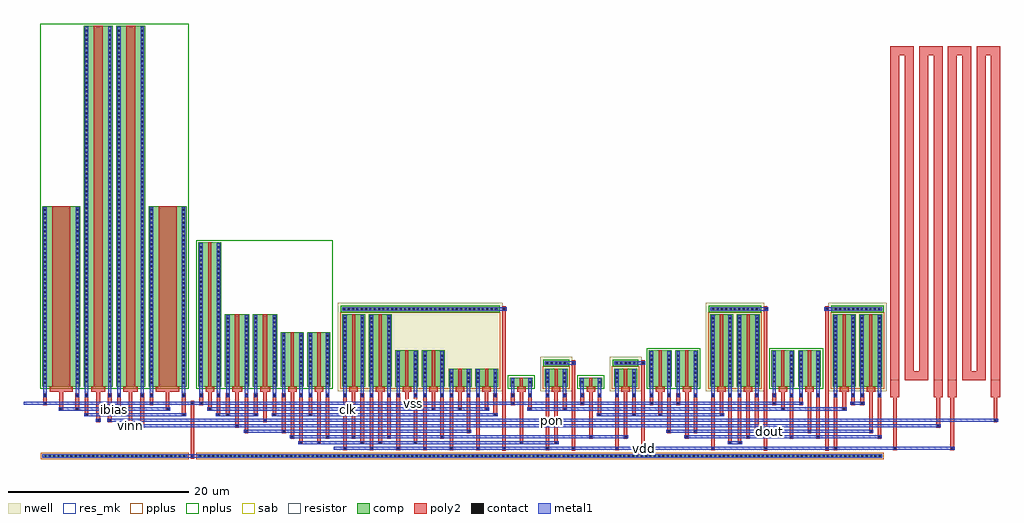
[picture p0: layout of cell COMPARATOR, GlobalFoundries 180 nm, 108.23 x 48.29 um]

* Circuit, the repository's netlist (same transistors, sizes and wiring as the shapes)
* extracted by klt extract --deck gf180mcu

* cell COMPARATOR
* pin clk
* pin dout
* pin doutb
* pin ibias
* pin pon
* pin pop
* pin vdd
* pin vinn
* pin vinp
* pin vss
.SUBCKT COMPARATOR clk dout doutb ibias pon pop vdd vinn vinp vss
* device instance $1 r0 *1 53.125,0.5 nfet
M$1 \$15 \$13 vss vss nfet L=0.35U W=1U AS=1.1P AD=1.1P PS=4.2U PD=4.2U
* device instance $2 r0 *1 60.825,0.5 nfet
M$2 \$16 \$12 vss vss nfet L=0.35U W=1U AS=1.1P AD=1.1P PS=4.2U PD=4.2U
* device instance $3 r0 *1 68.525,2 nfet
M$3 dout \$16 vss vss nfet L=0.35U W=4U AS=4.4P AD=4.4P PS=10.2U PD=10.2U
* device instance $4 r0 *1 71.475,2 nfet
M$4 dout doutb vss vss nfet L=0.35U W=4U AS=4.4P AD=4.4P PS=10.2U PD=10.2U
* device instance $5 r0 *1 82.125,2 nfet
M$5 doutb \$15 vss vss nfet L=0.35U W=4U AS=4.4P AD=4.4P PS=10.2U PD=10.2U
* device instance $6 r0 *1 85.075,2 nfet
M$6 doutb dout vss vss nfet L=0.35U W=4U AS=4.4P AD=4.4P PS=10.2U PD=10.2U
* device instance $7 r0 *1 27.725,3 nfet
M$7 \$13 \$12 \$10 vss nfet L=0.35U W=6U AS=6.6P AD=6.6P PS=14.2U PD=14.2U
* device instance $8 r0 *1 30.675,3 nfet
M$8 \$12 \$13 \$11 vss nfet L=0.35U W=6U AS=6.6P AD=6.6P PS=14.2U PD=14.2U
* device instance $9 r0 *1 21.6,4 nfet
M$9 \$10 pop \$9 vss nfet L=0.5U W=8U AS=8.8P AD=8.8P PS=18.2U PD=18.2U
* device instance $10 r0 *1 24.7,4 nfet
M$10 \$11 pon \$9 vss nfet L=0.5U W=8U AS=8.8P AD=8.8P PS=18.2U PD=18.2U
* device instance $11 r0 *1 18.575,8 nfet
M$11 \$9 clk vss vss nfet L=0.35U W=16U AS=17.6P AD=17.6P PS=34.2U PD=34.2U
* device instance $12 r0 *1 2.1,10 nfet
M$12 ibias ibias vss vss nfet L=2U W=20U AS=22P AD=22P PS=42.2U PD=42.2U
* device instance $13 r0 *1 13.9,10 nfet
M$13 \$3 ibias vss vss nfet L=2U W=20U AS=22P AD=22P PS=42.2U PD=42.2U
* device instance $14 r0 *1 6.2,20 nfet
M$14 pon vinp \$3 vss nfet L=1U W=40U AS=44P AD=44P PS=82.2U PD=82.2U
* device instance $15 r0 *1 9.8,20 nfet
M$15 pop vinn \$3 vss nfet L=1U W=40U AS=44P AD=44P PS=82.2U PD=82.2U
* device instance $16 r0 *1 46.325,1 pfet
M$16 \$10 clk vdd vdd pfet L=0.35U W=2U AS=2.2P AD=2.2P PS=6.2U PD=6.2U
* device instance $17 r0 *1 49.275,1 pfet
M$17 \$11 clk vdd vdd pfet L=0.35U W=2U AS=2.2P AD=2.2P PS=6.2U PD=6.2U
* device instance $18 r0 *1 56.975,1 pfet
M$18 \$15 \$13 vdd vdd pfet L=0.35U W=2U AS=2.2P AD=2.2P PS=6.2U PD=6.2U
* device instance $19 r0 *1 64.675,1 pfet
M$19 \$16 \$12 vdd vdd pfet L=0.35U W=2U AS=2.2P AD=2.2P PS=6.2U PD=6.2U
* device instance $20 r0 *1 40.425,2 pfet
M$20 \$13 clk vdd vdd pfet L=0.35U W=4U AS=4.4P AD=4.4P PS=10.2U PD=10.2U
* device instance $21 r0 *1 43.375,2 pfet
M$21 \$12 clk vdd vdd pfet L=0.35U W=4U AS=4.4P AD=4.4P PS=10.2U PD=10.2U
* device instance $22 r0 *1 34.525,4 pfet
M$22 \$13 \$12 vdd vdd pfet L=0.35U W=8U AS=8.8P AD=8.8P PS=18.2U PD=18.2U
* device instance $23 r0 *1 37.475,4 pfet
M$23 \$12 \$13 vdd vdd pfet L=0.35U W=8U AS=8.8P AD=8.8P PS=18.2U PD=18.2U
* device instance $24 r0 *1 75.325,4 pfet
M$24 \$19 \$16 vdd vdd pfet L=0.35U W=8U AS=8.8P AD=8.8P PS=18.2U PD=18.2U
* device instance $25 r0 *1 78.275,4 pfet
M$25 dout doutb \$19 vdd pfet L=0.35U W=8U AS=8.8P AD=8.8P PS=18.2U PD=18.2U
* device instance $26 r0 *1 88.925,4 pfet
M$26 \$20 \$15 vdd vdd pfet L=0.35U W=8U AS=8.8P AD=8.8P PS=18.2U PD=18.2U
* device instance $27 r0 *1 91.875,4 pfet
M$27 doutb dout \$20 vdd pfet L=0.35U W=8U AS=8.8P AD=8.8P PS=18.2U PD=18.2U
* device instance $28 r0 *1 96.95,19.225 ppolyf_u_1k
R$28 vdd pop vss 150000 ppolyf_u_1k L=150U W=1U
* device instance $29 r0 *1 103.15,19.225 ppolyf_u_1k
R$29 vdd pon vss 150000 ppolyf_u_1k L=150U W=1U
.ENDS COMPARATOR

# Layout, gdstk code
import gdstk
lib = gdstk.Library(unit=1e-6, precision=1e-09)
def R(c, l, rs):  # rectangles x0, y0, x1, y1
    for r in rs: c.add(gdstk.rectangle(r[:2], r[2:], *l))
def A(c, l, x, y, w, h, nx, ny, dx, dy):  # array of equal rectangles
    R(c, l, [(x+i*dx, y+j*dy, x+i*dx+w, y+j*dy+h) for i in range(nx) for j in range(ny)])
def P(c, l, *ps):  # polygons
    for p in ps: c.add(gdstk.Polygon(p, *l))
nwell = (21, 0)
comp = (22, 0)
poly2 = (30, 0)
pplus = (31, 0)
nplus = (32, 0)
contact = (33, 0)
metal1 = (34, 0)
sab = (49, 0)
resistor = (62, 0)
res_mk = (110, 5)

comparator = lib.new_cell('COMPARATOR')
R(comparator, nwell, [(32.75,-0.5,51.05,9.3), (55.2,-0.5,58.75,3.3), (62.9,-0.5,66.45,3.3), (73.55,-0.5,80.05,9.3), (87.15,-0.5,93.65,9.3)])
A(comparator, comp, 48, 0, 2.55, 2, 3, 1, 7.7, 0)
R(comparator, comp, [(0,-7.9,16.07,-7.5), (17.23,-7.9,93.15,-7.5), (0,0,4.2,20), (4.6,0,7.8,40), (8.2,0,11.4,40), (11.8,0,16,20), (17.3,0,19.85,16), (20.25,0,22.95,8), (23.35,0,26.05,8), (26.45,0,29,6), (29.4,0,31.95,6), (33.25,0,35.8,8), (36.2,0,38.75,8), (39.15,0,41.7,4), (42.1,0,44.65,4), (45.05,0,47.6,2), (51.85,0,54.4,1), (59.55,0,62.1,1), (67.25,0,69.8,4), (70.2,0,72.75,4), (74.05,0,76.6,8), (77,0,79.55,8), (80.85,0,83.4,4), (83.8,0,86.35,4), (87.65,0,90.2,8), (90.6,0,93.15,8), (55.7,2.4,58.25,2.8), (63.4,2.4,65.95,2.8), (33.25,8.4,50.55,8.8), (74.05,8.4,79.55,8.8), (87.65,8.4,93.15,8.8)])
A(comparator, poly2, 33.37, -7.04, 0.4, 5.84, 6, 1, 2.95, 0)
A(comparator, poly2, 64.475, -5.8, 0.4, 4.6, 3, 1, 6.8, 0)
A(comparator, poly2, 40.225, -2.7, 0.4, 1.5, 4, 1, 2.95, 0)
A(comparator, poly2, 51.97, -2.08, 0.4, 0.88, 3, 1, 7.7, 0)
A(comparator, poly2, 34.325, -1.2, 0.4, 0.6, 6, 1, 2.95, 0)
A(comparator, poly2, 52.925, -1.2, 0.4, 0.6, 5, 1, 3.85, 0)
A(comparator, poly2, 34.05, -0.6, 0.95, 0.6, 6, 1, 2.95, 0)
A(comparator, poly2, 52.65, -0.6, 0.95, 0.6, 5, 1, 3.85, 0)
A(comparator, poly2, 49.1, 0, 0.35, 2, 3, 1, 7.7, 0)
R(comparator, poly2, [(16.45,-8,16.85,-1.6), (51,-7.1,51.4,8.9), (58.7,-7.1,59.1,2.9), (66.4,-7.1,66.8,2.9), (80,-7.1,80.4,8.9), (86.8,-7.1,87.2,8.9), (55.82,-7.04,56.22,-1.2), (63.52,-7.04,63.92,-1.2), (74.17,-7.04,74.57,-1.2), (87.77,-7.04,88.17,-1.2), (94.35,-7.04,94.75,-1.2), (100.7,-7.04,101.1,-1.2), (28.48,-6.42,28.88,-1.2), (30.475,-6.42,30.875,-1.2), (35.28,-6.42,35.68,-1.2), (37.275,-6.42,37.675,-1.2), (41.18,-6.42,41.58,-1.2), (52.925,-6.42,53.325,-1.2), (56.775,-6.42,57.175,-1.2), (76.08,-6.42,76.48,-1.2), (77.12,-6.42,77.52,-1.2), (27.525,-5.8,27.925,-1.2), (31.43,-5.8,31.83,-1.2), (34.325,-5.8,34.725,-1.2), (38.23,-5.8,38.63,-1.2), (44.13,-5.8,44.53,-1.2), (60.625,-5.8,61.025,-1.2), (82.88,-5.8,83.28,-1.2), (85.83,-5.8,86.23,-1.2), (92.63,-5.8,93.03,-1.2), (22.43,-5.18,22.83,-1.2), (26.57,-5.18,26.97,-1.2), (47.08,-5.18,47.48,-1.2), (69.28,-5.18,69.68,-1.2), (72.23,-5.18,72.63,-1.2), (79.03,-5.18,79.43,-1.2), (84.875,-5.18,85.275,-1.2), (91.675,-5.18,92.075,-1.2), (9.6,-4.56,10,-1.2), (10.88,-4.56,11.28,-1.2), (21.4,-4.56,21.8,-1.2), (99.15,-4.56,99.55,-1.2), (6,-3.94,6.4,-1.2), (7.28,-3.94,7.68,-1.2), (24.5,-3.94,24.9,-1.2), (105.5,-3.94,105.9,-1.2), (4.72,-3.32,5.12,-1.2), (8.32,-3.32,8.72,-1.2), (15.48,-3.32,15.88,-1.2), (19.33,-3.32,19.73,-1.2), (20.37,-3.32,20.77,-1.2), (23.47,-3.32,23.87,-1.2), (25.53,-3.32,25.93,-1.2), (29.52,-3.32,29.92,-1.2), (50.03,-3.32,50.43,-1.2), (61.58,-3.32,61.98,-1.2), (65.43,-3.32,65.83,-1.2), (68.325,-3.32,68.725,-1.2), (75.125,-3.32,75.525,-1.2), (1.9,-2.7,2.3,-1.2), (3.68,-2.7,4.08,-1.2), (13.7,-2.7,14.1,-1.2), (18.375,-2.7,18.775,-1.2), (53.88,-2.7,54.28,-1.2), (57.73,-2.7,58.13,-1.2), (81.925,-2.7,82.325,-1.2), (88.725,-2.7,89.125,-1.2), (0.12,-2.08,0.52,-1.2), (11.92,-2.08,12.32,-1.2), (17.42,-2.08,17.82,-1.2), (70.32,-2.08,70.72,-1.2), (80.97,-2.08,81.37,-1.2), (83.92,-2.08,84.32,-1.2), (89.68,-2.08,90.08,-1.2), (90.72,-2.08,91.12,-1.2), (0.12,-1.2,0.52,-0.75), (1.9,-1.2,2.3,-0.6), (3.68,-1.2,4.08,-0.75), (4.72,-1.2,5.12,-0.75), (6,-1.2,6.4,-0.6), (7.28,-1.2,7.68,-0.75), (8.32,-1.2,8.72,-0.75), (9.6,-1.2,10,-0.6), (10.88,-1.2,11.28,-0.75), (11.92,-1.2,12.32,-0.75), (13.7,-1.2,14.1,-0.6), (15.48,-1.2,15.88,-0.75), (17.42,-1.2,17.82,-0.75), (18.375,-1.2,18.775,-0.6), (19.33,-1.2,19.73,-0.75), (20.37,-1.2,20.77,-0.75), (21.4,-1.2,21.8,-0.6), (22.43,-1.2,22.83,-0.75), (23.47,-1.2,23.87,-0.75), (24.5,-1.2,24.9,-0.6), (25.53,-1.2,25.93,-0.75), (26.57,-1.2,26.97,-0.75), (27.525,-1.2,27.925,-0.6), (28.48,-1.2,28.88,-0.75), (29.52,-1.2,29.92,-0.75), (30.475,-1.2,30.875,-0.6), (31.43,-1.2,31.83,-0.75), (33.37,-1.2,33.77,-0.75), (35.28,-1.2,35.68,-0.75), (36.32,-1.2,36.72,-0.75), (38.23,-1.2,38.63,-0.75), (39.27,-1.2,39.67,-0.75), (41.18,-1.2,41.58,-0.75), (42.22,-1.2,42.62,-0.75), (44.13,-1.2,44.53,-0.75), (45.17,-1.2,45.57,-0.75), (47.08,-1.2,47.48,-0.75), (48.12,-1.2,48.52,-0.75), (50.03,-1.2,50.43,-0.75), (51.97,-1.2,52.37,-0.75), (53.88,-1.2,54.28,-0.75), (55.82,-1.2,56.22,-0.75), (57.73,-1.2,58.13,-0.75), (59.67,-1.2,60.07,-0.75), (61.58,-1.2,61.98,-0.75), (63.52,-1.2,63.92,-0.75), (65.43,-1.2,65.83,-0.75), (67.37,-1.2,67.77,-0.75), (69.28,-1.2,69.68,-0.75), (70.32,-1.2,70.72,-0.75), (71.275,-1.2,71.675,-0.6), (72.23,-1.2,72.63,-0.75), (74.17,-1.2,74.57,-0.75), (75.125,-1.2,75.525,-0.6), (76.08,-1.2,76.48,-0.75), (77.12,-1.2,77.52,-0.75), (78.075,-1.2,78.475,-0.6), (79.03,-1.2,79.43,-0.75), (80.97,-1.2,81.37,-0.75), (81.925,-1.2,82.325,-0.6), (82.88,-1.2,83.28,-0.75), (83.92,-1.2,84.32,-0.75), (84.875,-1.2,85.275,-0.6), (85.83,-1.2,86.23,-0.75), (87.77,-1.2,88.17,-0.75), (88.725,-1.2,89.125,-0.6), (89.68,-1.2,90.08,-0.75), (90.72,-1.2,91.12,-0.75), (91.675,-1.2,92.075,-0.6), (92.63,-1.2,93.03,-0.75), (94.05,-1.2,95.05,0.7), (98.85,-1.2,99.85,0.7), (100.4,-1.2,101.4,0.7), (105.2,-1.2,106.2,0.7), (0.8,-0.6,3.4,0), (5.4,-0.6,7,0), (9,-0.6,10.6,0), (12.6,-0.6,15.2,0), (18.1,-0.6,19.05,0), (21.05,-0.6,22.15,0), (24.15,-0.6,25.25,0), (27.25,-0.6,28.2,0), (30.2,-0.6,31.15,0), (71,-0.6,71.95,0), (74.85,-0.6,75.8,0), (77.8,-0.6,78.75,0), (81.65,-0.6,82.6,0), (84.6,-0.6,85.55,0), (88.45,-0.6,89.4,0), (91.4,-0.6,92.35,0), (1.1,0,3.1,20), (5.7,0,6.7,40), (9.3,0,10.3,40), (12.9,0,14.9,20), (18.4,0,18.75,16), (21.35,0,21.85,8), (24.45,0,24.95,8), (27.55,0,27.9,6), (30.5,0,30.85,6), (34.35,0,34.7,8), (37.3,0,37.65,8), (40.25,0,40.6,4), (43.2,0,43.55,4), (46.15,0,46.5,2), (52.95,0,53.3,1), (60.65,0,61,1), (68.35,0,68.7,4), (71.3,0,71.65,4), (75.15,0,75.5,8), (78.1,0,78.45,8), (81.95,0,82.3,4), (84.9,0,85.25,4), (88.75,0,89.1,8), (91.7,0,92.05,8)])
P(comparator, poly2, [(94.05,0.7),(94.05,37.75),(96.65,37.75),(96.65,1.7),(97.25,1.7),(97.25,37.75),(99.85,37.75),(99.85,0.7),(98.85,0.7),(98.85,36.75),(98.25,36.75),(98.25,0.7),(95.65,0.7),(95.65,36.75),(95.05,36.75),(95.05,0.7)],
  [(100.4,0.7),(100.4,37.75),(103,37.75),(103,1.7),(103.6,1.7),(103.6,37.75),(106.2,37.75),(106.2,0.7),(105.2,0.7),(105.2,36.75),(104.6,36.75),(104.6,0.7),(102,0.7),(102,36.75),(101.4,36.75),(101.4,0.7)])
R(comparator, pplus, [(-0.16,-8.06,16.23,-7.34), (17.07,-8.06,93.31,-7.34), (33.02,-0.23,50.78,8.23), (55.47,-0.23,58.48,2.23), (63.17,-0.23,66.18,2.23), (73.82,-0.23,79.78,8.23), (87.42,-0.23,93.38,8.23)])
R(comparator, nplus, [(-0.23,-0.23,16.23,40.23), (17.07,-0.23,32.18,16.23), (51.62,-0.23,54.63,1.23), (59.32,-0.23,62.33,1.23), (67.02,-0.23,72.98,4.23), (80.62,-0.23,86.58,4.23), (55.54,2.24,58.41,2.96), (63.24,2.24,66.11,2.96), (33.09,8.24,50.71,8.96), (73.89,8.24,79.71,8.96), (87.49,8.24,93.31,8.96)])
A(comparator, contact, 0.245, -7.81, 0.22, 0.22, 33, 1, 0.48, 0)
A(comparator, contact, 17.4, -7.81, 0.22, 0.22, 158, 1, 0.48, 0)
A(comparator, contact, 33.46, -6.94, 0.22, 0.22, 6, 1, 2.95, 0)
A(comparator, contact, 64.565, -5.7, 0.22, 0.22, 3, 1, 6.8, 0)
A(comparator, contact, 40.315, -2.6, 0.22, 0.22, 4, 1, 2.95, 0)
A(comparator, contact, 52.06, -1.98, 0.22, 0.22, 3, 1, 7.7, 0)
A(comparator, contact, 26.66, 0.25, 0.22, 0.22, 1, 12, 0, 0.48)
A(comparator, contact, 28.57, 0.25, 0.22, 0.22, 1, 12, 0, 0.48)
A(comparator, contact, 29.61, 0.25, 0.22, 0.22, 1, 12, 0, 0.48)
A(comparator, contact, 31.52, 0.25, 0.22, 0.22, 1, 12, 0, 0.48)
A(comparator, contact, 0.21, 0.29, 0.22, 0.22, 1, 41, 0, 0.48)
A(comparator, contact, 3.77, 0.29, 0.22, 0.22, 1, 41, 0, 0.48)
A(comparator, contact, 12.01, 0.29, 0.22, 0.22, 1, 41, 0, 0.48)
A(comparator, contact, 15.57, 0.29, 0.22, 0.22, 1, 41, 0, 0.48)
A(comparator, contact, 20.46, 0.29, 0.22, 0.22, 1, 16, 0, 0.48)
A(comparator, contact, 22.52, 0.29, 0.22, 0.22, 1, 16, 0, 0.48)
A(comparator, contact, 23.56, 0.29, 0.22, 0.22, 1, 16, 0, 0.48)
A(comparator, contact, 25.62, 0.29, 0.22, 0.22, 1, 16, 0, 0.48)
A(comparator, contact, 33.46, 0.29, 0.22, 0.22, 1, 16, 0, 0.48)
A(comparator, contact, 35.37, 0.29, 0.22, 0.22, 1, 16, 0, 0.48)
A(comparator, contact, 36.41, 0.29, 0.22, 0.22, 1, 16, 0, 0.48)
A(comparator, contact, 38.32, 0.29, 0.22, 0.22, 1, 16, 0, 0.48)
A(comparator, contact, 74.26, 0.29, 0.22, 0.22, 1, 16, 0, 0.48)
A(comparator, contact, 76.17, 0.29, 0.22, 0.22, 1, 16, 0, 0.48)
A(comparator, contact, 77.21, 0.29, 0.22, 0.22, 1, 16, 0, 0.48)
A(comparator, contact, 79.12, 0.29, 0.22, 0.22, 1, 16, 0, 0.48)
A(comparator, contact, 87.86, 0.29, 0.22, 0.22, 1, 16, 0, 0.48)
A(comparator, contact, 89.77, 0.29, 0.22, 0.22, 1, 16, 0, 0.48)
A(comparator, contact, 90.81, 0.29, 0.22, 0.22, 1, 16, 0, 0.48)
A(comparator, contact, 92.72, 0.29, 0.22, 0.22, 1, 16, 0, 0.48)
A(comparator, contact, 45.26, 0.41, 0.22, 0.22, 1, 3, 0, 0.48)
A(comparator, contact, 47.17, 0.41, 0.22, 0.22, 1, 3, 0, 0.48)
A(comparator, contact, 48.21, 0.41, 0.22, 0.22, 1, 3, 0, 0.48)
A(comparator, contact, 50.12, 0.41, 0.22, 0.22, 1, 3, 0, 0.48)
A(comparator, contact, 55.91, 0.41, 0.22, 0.22, 1, 3, 0, 0.48)
A(comparator, contact, 57.82, 0.41, 0.22, 0.22, 1, 3, 0, 0.48)
A(comparator, contact, 63.61, 0.41, 0.22, 0.22, 1, 3, 0, 0.48)
A(comparator, contact, 65.52, 0.41, 0.22, 0.22, 1, 3, 0, 0.48)
A(comparator, contact, 4.81, 0.45, 0.22, 0.22, 1, 82, 0, 0.48)
A(comparator, contact, 7.37, 0.45, 0.22, 0.22, 1, 82, 0, 0.48)
A(comparator, contact, 8.41, 0.45, 0.22, 0.22, 1, 82, 0, 0.48)
A(comparator, contact, 10.97, 0.45, 0.22, 0.22, 1, 82, 0, 0.48)
A(comparator, contact, 17.51, 0.45, 0.22, 0.22, 1, 32, 0, 0.48)
A(comparator, contact, 19.42, 0.45, 0.22, 0.22, 1, 32, 0, 0.48)
A(comparator, contact, 39.36, 0.45, 0.22, 0.22, 1, 7, 0, 0.48)
A(comparator, contact, 41.27, 0.45, 0.22, 0.22, 1, 7, 0, 0.48)
A(comparator, contact, 42.31, 0.45, 0.22, 0.22, 1, 7, 0, 0.48)
A(comparator, contact, 44.22, 0.45, 0.22, 0.22, 1, 7, 0, 0.48)
A(comparator, contact, 67.46, 0.45, 0.22, 0.22, 1, 7, 0, 0.48)
A(comparator, contact, 69.37, 0.45, 0.22, 0.22, 1, 7, 0, 0.48)
A(comparator, contact, 70.41, 0.45, 0.22, 0.22, 1, 7, 0, 0.48)
A(comparator, contact, 72.32, 0.45, 0.22, 0.22, 1, 7, 0, 0.48)
A(comparator, contact, 81.06, 0.45, 0.22, 0.22, 1, 7, 0, 0.48)
A(comparator, contact, 82.97, 0.45, 0.22, 0.22, 1, 7, 0, 0.48)
A(comparator, contact, 84.01, 0.45, 0.22, 0.22, 1, 7, 0, 0.48)
A(comparator, contact, 85.92, 0.45, 0.22, 0.22, 1, 7, 0, 0.48)
A(comparator, contact, 55.905, 2.49, 0.22, 0.22, 5, 1, 0.48, 0)
A(comparator, contact, 63.605, 2.49, 0.22, 0.22, 5, 1, 0.48, 0)
A(comparator, contact, 33.39, 8.49, 0.22, 0.22, 36, 1, 0.48, 0)
A(comparator, contact, 74.29, 8.49, 0.22, 0.22, 11, 1, 0.48, 0)
A(comparator, contact, 87.89, 8.49, 0.22, 0.22, 11, 1, 0.48, 0)
R(comparator, contact, [(16.54,-7.81,16.76,-7.59), (51.09,-6.94,51.31,-6.72), (55.91,-6.94,56.13,-6.72), (58.79,-6.94,59.01,-6.72), (63.61,-6.94,63.83,-6.72), (66.49,-6.94,66.71,-6.72), (74.26,-6.94,74.48,-6.72), (80.09,-6.94,80.31,-6.72), (86.89,-6.94,87.11,-6.72), (87.86,-6.94,88.08,-6.72), (94.44,-6.94,94.66,-6.72), (100.79,-6.94,101.01,-6.72), (28.57,-6.32,28.79,-6.1), (30.565,-6.32,30.785,-6.1), (35.37,-6.32,35.59,-6.1), (37.365,-6.32,37.585,-6.1), (41.27,-6.32,41.49,-6.1), (53.015,-6.32,53.235,-6.1), (56.865,-6.32,57.085,-6.1), (76.17,-6.32,76.39,-6.1), (77.21,-6.32,77.43,-6.1), (27.615,-5.7,27.835,-5.48), (31.52,-5.7,31.74,-5.48), (34.415,-5.7,34.635,-5.48), (38.32,-5.7,38.54,-5.48), (44.22,-5.7,44.44,-5.48), (60.715,-5.7,60.935,-5.48), (82.97,-5.7,83.19,-5.48), (85.92,-5.7,86.14,-5.48), (92.72,-5.7,92.94,-5.48), (22.52,-5.08,22.74,-4.86), (26.66,-5.08,26.88,-4.86), (47.17,-5.08,47.39,-4.86), (69.37,-5.08,69.59,-4.86), (72.32,-5.08,72.54,-4.86), (79.12,-5.08,79.34,-4.86), (84.965,-5.08,85.185,-4.86), (91.765,-5.08,91.985,-4.86), (9.69,-4.46,9.91,-4.24), (10.97,-4.46,11.19,-4.24), (21.49,-4.46,21.71,-4.24), (99.24,-4.46,99.46,-4.24), (6.09,-3.84,6.31,-3.62), (7.37,-3.84,7.59,-3.62), (24.59,-3.84,24.81,-3.62), (105.59,-3.84,105.81,-3.62), (4.81,-3.22,5.03,-3), (8.41,-3.22,8.63,-3), (15.57,-3.22,15.79,-3), (19.42,-3.22,19.64,-3), (20.46,-3.22,20.68,-3), (23.56,-3.22,23.78,-3), (25.62,-3.22,25.84,-3), (29.61,-3.22,29.83,-3), (50.12,-3.22,50.34,-3), (61.67,-3.22,61.89,-3), (65.52,-3.22,65.74,-3), (68.415,-3.22,68.635,-3), (75.215,-3.22,75.435,-3), (1.99,-2.6,2.21,-2.38), (3.77,-2.6,3.99,-2.38), (13.79,-2.6,14.01,-2.38), (18.465,-2.6,18.685,-2.38), (53.97,-2.6,54.19,-2.38), (57.82,-2.6,58.04,-2.38), (82.015,-2.6,82.235,-2.38), (88.815,-2.6,89.035,-2.38), (0.21,-1.98,0.43,-1.76), (12.01,-1.98,12.23,-1.76), (16.54,-1.98,16.76,-1.76), (17.51,-1.98,17.73,-1.76), (70.41,-1.98,70.63,-1.76), (81.06,-1.98,81.28,-1.76), (84.01,-1.98,84.23,-1.76), (89.77,-1.98,89.99,-1.76), (90.81,-1.98,91.03,-1.76), (0.21,-1.08,0.43,-0.86), (3.77,-1.08,3.99,-0.86), (4.81,-1.08,5.03,-0.86), (7.37,-1.08,7.59,-0.86), (8.41,-1.08,8.63,-0.86), (10.97,-1.08,11.19,-0.86), (12.01,-1.08,12.23,-0.86), (15.57,-1.08,15.79,-0.86), (17.51,-1.08,17.73,-0.86), (19.42,-1.08,19.64,-0.86), (20.46,-1.08,20.68,-0.86), (22.52,-1.08,22.74,-0.86), (23.56,-1.08,23.78,-0.86), (25.62,-1.08,25.84,-0.86), (26.66,-1.08,26.88,-0.86), (28.57,-1.08,28.79,-0.86), (29.61,-1.08,29.83,-0.86), (31.52,-1.08,31.74,-0.86), (33.46,-1.08,33.68,-0.86), (35.37,-1.08,35.59,-0.86), (36.41,-1.08,36.63,-0.86), (38.32,-1.08,38.54,-0.86), (39.36,-1.08,39.58,-0.86), (41.27,-1.08,41.49,-0.86), (42.31,-1.08,42.53,-0.86), (44.22,-1.08,44.44,-0.86), (45.26,-1.08,45.48,-0.86), (47.17,-1.08,47.39,-0.86), (48.21,-1.08,48.43,-0.86), (50.12,-1.08,50.34,-0.86), (52.06,-1.08,52.28,-0.86), (53.97,-1.08,54.19,-0.86), (55.91,-1.08,56.13,-0.86), (57.82,-1.08,58.04,-0.86), (59.76,-1.08,59.98,-0.86), (61.67,-1.08,61.89,-0.86), (63.61,-1.08,63.83,-0.86), (65.52,-1.08,65.74,-0.86), (67.46,-1.08,67.68,-0.86), (69.37,-1.08,69.59,-0.86), (70.41,-1.08,70.63,-0.86), (72.32,-1.08,72.54,-0.86), (74.26,-1.08,74.48,-0.86), (76.17,-1.08,76.39,-0.86), (77.21,-1.08,77.43,-0.86), (79.12,-1.08,79.34,-0.86), (81.06,-1.08,81.28,-0.86), (82.97,-1.08,83.19,-0.86), (84.01,-1.08,84.23,-0.86), (85.92,-1.08,86.14,-0.86), (87.86,-1.08,88.08,-0.86), (89.77,-1.08,89.99,-0.86), (90.81,-1.08,91.03,-0.86), (92.72,-1.08,92.94,-0.86), (52.06,0.39,52.28,0.61), (53.97,0.39,54.19,0.61), (59.76,0.39,59.98,0.61), (61.67,0.39,61.89,0.61), (58.79,2.49,59.01,2.71), (66.49,2.49,66.71,2.71), (51.09,8.49,51.31,8.71), (80.09,8.49,80.31,8.71), (86.89,8.49,87.11,8.71)])
R(comparator, metal1, [(0,-7.9,93.15,-7.5), (32.32,-7,101.18,-6.66), (28.4,-6.38,57.255,-6.04), (76,-6.38,77.6,-6.04), (27.445,-5.76,64.955,-5.42), (71.195,-5.76,93.11,-5.42), (22.35,-5.14,47.56,-4.8), (69.2,-5.14,92.155,-4.8), (9.52,-4.52,10.08,-4.18), (10.8,-4.52,99.63,-4.18), (5.92,-3.9,6.48,-3.56), (7.2,-3.9,105.98,-3.56), (4.64,-3.28,15.96,-2.94), (19.25,-3.28,23.95,-2.94), (25.45,-3.28,50.51,-2.94), (61.5,-3.28,75.605,-2.94), (1.82,-2.66,14.18,-2.32), (18.295,-2.66,49.555,-2.32), (53.8,-2.66,89.205,-2.32), (-2.03,-2.04,84.4,-1.7), (89.6,-2.04,91.2,-1.7), (0.13,-1.2,0.51,0.09), (3.69,-1.2,4.07,0.09), (4.73,-1.2,5.11,0.09), (7.29,-1.2,7.67,0.09), (8.33,-1.2,8.71,0.09), (10.89,-1.2,11.27,0.09), (11.93,-1.2,12.31,0.09), (15.49,-1.2,15.87,0.09), (17.43,-1.2,17.81,0.09), (19.34,-1.2,19.72,0.09), (20.38,-1.2,20.76,0.09), (22.44,-1.2,22.82,0.09), (23.48,-1.2,23.86,0.09), (25.54,-1.2,25.92,0.09), (26.58,-1.2,26.96,0.09), (28.49,-1.2,28.87,0.09), (29.53,-1.2,29.91,0.09), (31.44,-1.2,31.82,0.09), (33.38,-1.2,33.76,0.09), (35.29,-1.2,35.67,0.09), (36.33,-1.2,36.71,0.09), (38.24,-1.2,38.62,0.09), (39.28,-1.2,39.66,0.09), (41.19,-1.2,41.57,0.09), (42.23,-1.2,42.61,0.09), (44.14,-1.2,44.52,0.09), (45.18,-1.2,45.56,0.09), (47.09,-1.2,47.47,0.09), (48.13,-1.2,48.51,0.09), (50.04,-1.2,50.42,0.09), (51.98,-1.2,52.36,0.09), (53.89,-1.2,54.27,0.09), (55.83,-1.2,56.21,0.09), (57.74,-1.2,58.12,0.09), (59.68,-1.2,60.06,0.09), (61.59,-1.2,61.97,0.09), (63.53,-1.2,63.91,0.09), (65.44,-1.2,65.82,0.09), (67.38,-1.2,67.76,0.09), (69.29,-1.2,69.67,0.09), (70.33,-1.2,70.71,0.09), (72.24,-1.2,72.62,0.09), (74.18,-1.2,74.56,0.09), (76.09,-1.2,76.47,0.09), (77.13,-1.2,77.51,0.09), (79.04,-1.2,79.42,0.09), (80.98,-1.2,81.36,0.09), (82.89,-1.2,83.27,0.09), (83.93,-1.2,84.31,0.09), (85.84,-1.2,86.22,0.09), (87.78,-1.2,88.16,0.09), (89.69,-1.2,90.07,0.09), (90.73,-1.2,91.11,0.09), (92.64,-1.2,93.02,0.09), (0.13,0.09,0.51,19.91), (3.69,0.09,4.07,19.91), (4.73,0.09,5.11,39.91), (7.29,0.09,7.67,39.91), (8.33,0.09,8.71,39.91), (10.89,0.09,11.27,39.91), (11.93,0.09,12.31,19.91), (15.49,0.09,15.87,19.91), (17.43,0.09,17.81,15.91), (19.34,0.09,19.72,15.91), (20.38,0.09,20.76,7.91), (22.44,0.09,22.82,7.91), (23.48,0.09,23.86,7.91), (25.54,0.09,25.92,7.91), (26.58,0.09,26.96,5.91), (28.49,0.09,28.87,5.91), (29.53,0.09,29.91,5.91), (31.44,0.09,31.82,5.91), (33.38,0.09,33.76,7.91), (35.29,0.09,35.67,7.91), (36.33,0.09,36.71,7.91), (38.24,0.09,38.62,7.91), (39.28,0.09,39.66,3.91), (41.19,0.09,41.57,3.91), (42.23,0.09,42.61,3.91), (44.14,0.09,44.52,3.91), (45.18,0.09,45.56,1.91), (47.09,0.09,47.47,1.91), (48.13,0.09,48.51,1.91), (50.04,0.09,50.42,1.91), (51.98,0.09,52.36,0.91), (53.89,0.09,54.27,0.91), (55.83,0.09,56.21,1.91), (57.74,0.09,58.12,1.91), (59.68,0.09,60.06,0.91), (61.59,0.09,61.97,0.91), (63.53,0.09,63.91,1.91), (65.44,0.09,65.82,1.91), (67.38,0.09,67.76,3.91), (69.29,0.09,69.67,3.91), (70.33,0.09,70.71,3.91), (72.24,0.09,72.62,3.91), (74.18,0.09,74.56,7.91), (76.09,0.09,76.47,7.91), (77.13,0.09,77.51,7.91), (79.04,0.09,79.42,7.91), (80.98,0.09,81.36,3.91), (82.89,0.09,83.27,3.91), (83.93,0.09,84.31,3.91), (85.84,0.09,86.22,3.91), (87.78,0.09,88.16,7.91), (89.69,0.09,90.07,7.91), (90.73,0.09,91.11,7.91), (92.64,0.09,93.02,7.91), (55.7,2.4,58.25,2.8), (55.7,2.4,59.18,2.8), (63.4,2.4,65.95,2.8), (63.4,2.4,66.88,2.8), (33.25,8.4,50.55,8.8), (33.25,8.4,51.48,8.8), (74.05,8.4,79.55,8.8), (74.05,8.4,80.48,8.8), (86.72,8.4,93.15,8.8), (87.65,8.4,93.15,8.8)])
P(comparator, sab, [(94.05,0.7),(94.05,37.75),(96.65,37.75),(96.65,1.7),(97.25,1.7),(97.25,37.75),(99.85,37.75),(99.85,0.7),(98.85,0.7),(98.85,36.75),(98.25,36.75),(98.25,0.7),(95.65,0.7),(95.65,36.75),(95.05,36.75),(95.05,0.7)],
  [(100.4,0.7),(100.4,37.75),(103,37.75),(103,1.7),(103.6,1.7),(103.6,37.75),(106.2,37.75),(106.2,0.7),(105.2,0.7),(105.2,36.75),(104.6,36.75),(104.6,0.7),(102,0.7),(102,36.75),(101.4,36.75),(101.4,0.7)])
P(comparator, resistor, [(94.05,0.7),(94.05,37.75),(96.65,37.75),(96.65,1.7),(97.25,1.7),(97.25,37.75),(99.85,37.75),(99.85,0.7),(98.85,0.7),(98.85,36.75),(98.25,36.75),(98.25,0.7),(95.65,0.7),(95.65,36.75),(95.05,36.75),(95.05,0.7)],
  [(100.4,0.7),(100.4,37.75),(103,37.75),(103,1.7),(103.6,1.7),(103.6,37.75),(106.2,37.75),(106.2,0.7),(105.2,0.7),(105.2,36.75),(104.6,36.75),(104.6,0.7),(102,0.7),(102,36.75),(101.4,36.75),(101.4,0.7)])
P(comparator, res_mk, [(94.05,0.7),(94.05,37.75),(96.65,37.75),(96.65,1.7),(97.25,1.7),(97.25,37.75),(99.85,37.75),(99.85,0.7),(98.85,0.7),(98.85,36.75),(98.25,36.75),(98.25,0.7),(95.65,0.7),(95.65,36.75),(95.05,36.75),(95.05,0.7)],
  [(100.4,0.7),(100.4,37.75),(103,37.75),(103,1.7),(103.6,1.7),(103.6,37.75),(106.2,37.75),(106.2,0.7),(105.2,0.7),(105.2,36.75),(104.6,36.75),(104.6,0.7),(102,0.7),(102,36.75),(101.4,36.75),(101.4,0.7)])
comparator.add(gdstk.Label('vss', (41.185,-1.87), layer=34, texttype=10))
comparator.add(gdstk.Label('ibias', (8,-2.49), layer=34, texttype=10))
comparator.add(gdstk.Label('vinp', (6.2,-3.73), layer=34, texttype=10))
comparator.add(gdstk.Label('pon', (56.59,-3.73), layer=34, texttype=10))
comparator.add(gdstk.Label('vinn', (9.8,-4.35), layer=34, texttype=10))
comparator.add(gdstk.Label('pop', (55.215,-4.35), layer=34, texttype=10))
comparator.add(gdstk.Label('clk', (33.925,-2.49), layer=34, texttype=10))
comparator.add(gdstk.Label('vdd', (66.75,-6.83), layer=34, texttype=10))
comparator.add(gdstk.Label('dout', (80.677,-4.97), layer=34, texttype=10))
comparator.add(gdstk.Label('doutb', (82.152,-5.59), layer=34, texttype=10))

lib.write_gds('COMPARATOR.gds')
